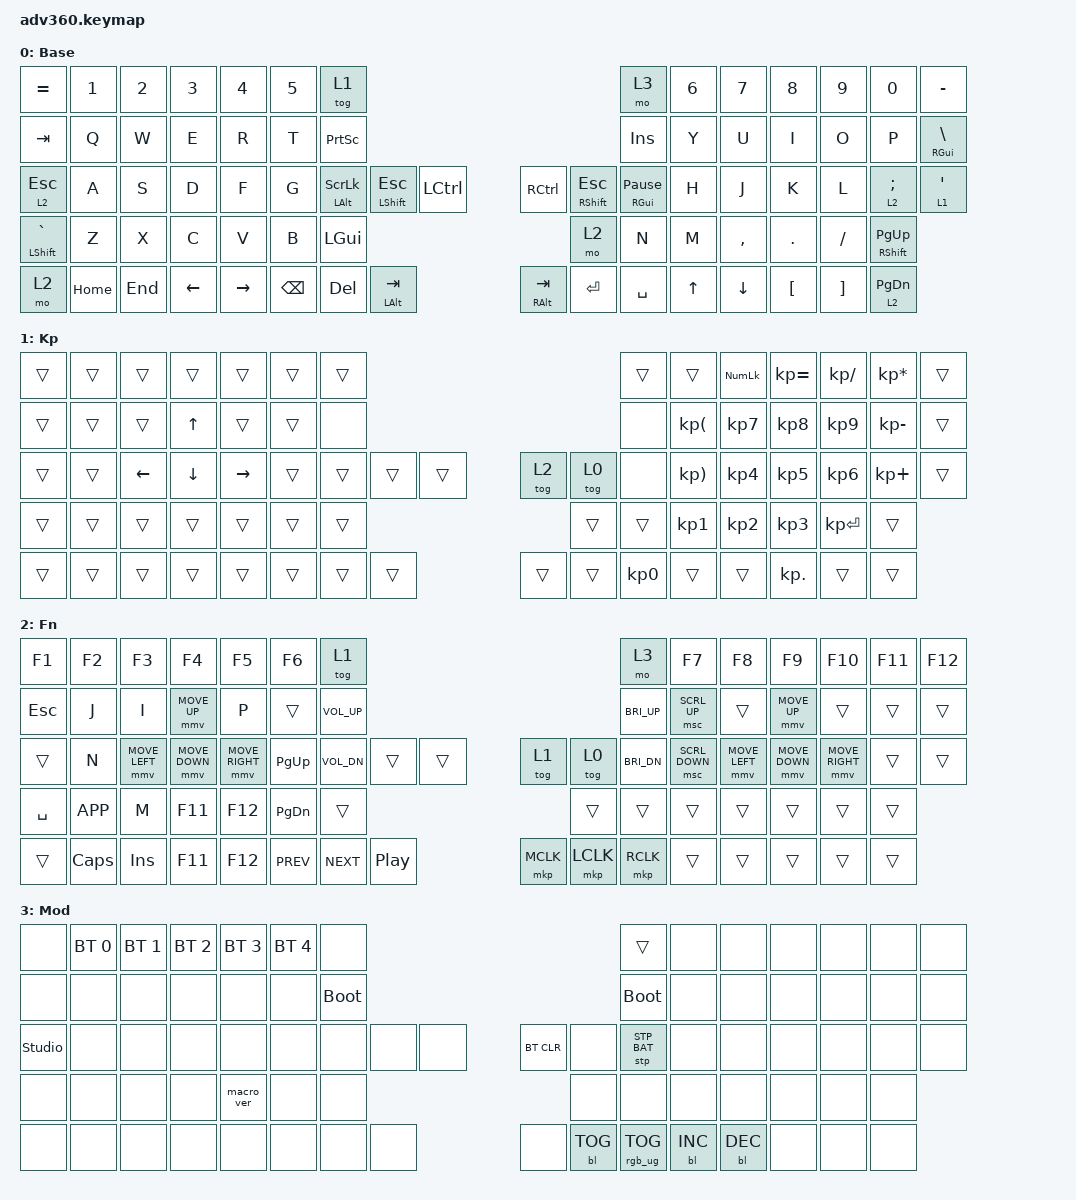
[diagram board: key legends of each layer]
#include <behaviors.dtsi>
#include <dt-bindings/zmk/keys.h>
#include <dt-bindings/zmk/bt.h>
#include <dt-bindings/zmk/rgb.h>
#include <dt-bindings/zmk/stp.h>
#include <dt-bindings/zmk/backlight.h>
#include <dt-bindings/zmk/pointing.h>

/ {
    behaviors {
      #include "macros.dtsi"
      #include "version.dtsi"

      hm: homerow_mods {
          compatible = "zmk,behavior-hold-tap";
          label = "HOMEROW_MODS";
          #binding-cells = <2>;
          tapping-term-ms = <200>;
          quick_tap_ms = <175>;
          flavor = "tap-preferred";
          bindings = <&kp>, <&kp>;
      };
    };

  keymap {
    compatible = "zmk,keymap";

    default_layer {
      display-name = "Base";
      bindings = <
        &kp EQUAL    &kp N1   &kp N2    &kp N3     &kp N4  &kp N5                         &tog 1                                                                                                           &mo 3  &kp N6  &kp N7     &kp N8    &kp N9           &kp N0         &kp MINUS
          &kp TAB     &kp Q    &kp W     &kp E      &kp R   &kp T                      &kp PSCRN                                                                                                         &kp INS   &kp Y   &kp U      &kp I     &kp O            &kp P     &mt RGUI BSLH
        &lt 2 ESC     &kp A    &kp S     &kp D      &kp F   &kp G            &mt LALT SCROLLLOCK  &mt LSHIFT ESCAPE         &kp LCTRL                          &kp RCTRL  &mt RSHFT ESCAPE  &mt RGUI PAUSE_BREAK   &kp H   &kp J      &kp K     &kp L  &lt 2 SEMICOLON         &lt 1 SQT
 &mt LSHIFT GRAVE     &kp Z    &kp X     &kp C      &kp V   &kp B                                                            &kp LGUI                              &mo 2                                           &kp N   &kp M  &kp COMMA   &kp DOT         &kp FSLH  &mt RSHIFT PG_UP
      &mo 2        &kp HOME  &kp END  &kp LEFT  &kp RIGHT                               &kp BSPC          &kp DEL    &mt LEFT_ALT TAB                  &mt RIGHT_ALT TAB         &kp ENTER             &kp SPACE          &kp UP   &kp DOWN  &kp LBKT         &kp RBKT       &lt 2 PG_DN
      >;
    };
    keypad {
      display-name = "Kp";
      bindings = <
         &trans       &trans   &trans       &trans        &trans   &trans  &trans                                                                               &trans       &trans   &kp KP_NUM  &kp KP_EQUAL  &kp KP_DIVIDE  &kp KP_MULTIPLY        &trans
         &trans       &trans   &trans       &kp UP        &trans   &trans  &none                                                                                &none   &kp KP_LPAR    &kp KP_N7     &kp KP_N8      &kp KP_N9     &kp KP_MINUS        &trans
         &trans       &trans   &kp LEFT   &kp DOWN     &kp RIGHT   &trans  &trans               &trans   &trans                   &tog 2  &tog 0                &none   &kp KP_RPAR    &kp KP_N4     &kp KP_N5      &kp KP_N6      &kp KP_PLUS        &trans
         &trans       &trans   &trans       &trans        &trans   &trans                                &trans                   &trans                        &trans    &kp KP_N1    &kp KP_N2     &kp KP_N3   &kp KP_ENTER           &trans
         &trans       &trans   &trans       &trans        &trans                        &trans  &trans   &trans                   &trans  &trans  &kp KP_N0                  &trans       &trans    &kp KP_DOT         &trans           &trans
      >;
    };
    fn {
      display-name = "Fn";
      bindings = <
     &kp F1      &kp F2         &kp F3          &kp F4            &kp F5       &kp F6                  &tog 1                                                                         &mo 3                  &kp F7           &kp F8          &kp F9         &kp F10   &kp F11  &kp F12
    &kp ESC      &kp J           &kp I    &mmv MOVE_UP             &kp P       &trans            &kp C_VOL_UP                                                                         &kp C_BRI_UP     &msc SCRL_UP           &trans    &mmv MOVE_UP          &trans    &trans   &trans
     &trans      &kp N  &mmv MOVE_LEFT  &mmv MOVE_DOWN   &mmv MOVE_RIGHT    &kp PG_UP            &kp C_VOL_DN      &trans    &trans                  &tog 1      &tog 0               &kp C_BRI_DN   &msc SCRL_DOWN   &mmv MOVE_LEFT  &mmv MOVE_DOWN &mmv MOVE_RIGHT    &trans   &trans
  &kp SPACE  &kp K_APP           &kp M         &kp F11           &kp F12    &kp PG_DN                                        &trans                  &trans                           &trans                 &trans           &trans          &trans          &trans    &trans
     &trans   &kp CAPS         &kp INS         &kp F11           &kp F12                         &kp C_PREV  &kp C_NEXT  &kp C_PP                 &mkp MCLK   &mkp LCLK            &mkp RCLK                 &trans           &trans          &trans          &trans    &trans
      >;
    };
    mod {
      display-name = "Mod";
      bindings = <
  &none   &bt BT_SEL 0  &bt BT_SEL 1  &bt BT_SEL 2  &bt BT_SEL 3  &bt BT_SEL 4                  &none                                                                          &trans   &none       &none       &none   &none   &none   &none
  &none          &none         &none         &none         &none         &none            &bootloader                                                                     &bootloader   &none       &none       &none   &none   &none   &none
  &studio_unlock &none         &none         &none         &none         &none                  &none   &none   &none                  &bt BT_CLR       &none            &stp STP_BAT   &none       &none       &none   &none   &none   &none
  &none          &none         &none         &none    &macro_ver         &none                                  &none                       &none                                       &none       &none       &none   &none   &none   &none
  &none          &none         &none         &none         &none                                &none   &none   &none                       &none  &bl BL_TOG         &rgb_ug RGB_TOG          &bl BL_INC  &bl BL_DEC   &none   &none   &none
      >;
    };
    extra1 { 
      display-name = "Red";    
      status = "reserved";
    };

    extra2 { 
      display-name = "Purple";    
      status = "reserved";
    };

    extra3 { 
      display-name = "Cyan";    
      status = "reserved";
    };

    extra4 { 
      display-name = "Yellow";    
      status = "reserved";
    };
  };
};
